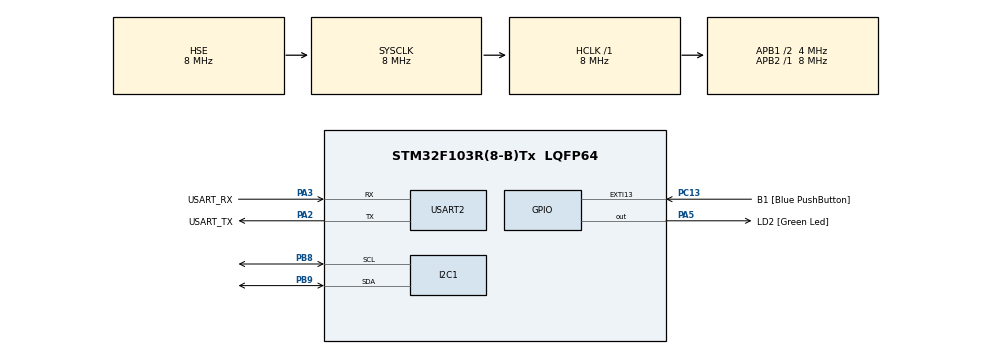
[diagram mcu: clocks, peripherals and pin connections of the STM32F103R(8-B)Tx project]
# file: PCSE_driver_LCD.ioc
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Mcu.Family=STM32F1
Mcu.Name=STM32F103R(8-B)Tx
Mcu.Package=LQFP64
NVIC.EXTI15_10_IRQn=true\:0\:0\:false\:false\:true\:true\:true\:true
NVIC.PriorityGroup=NVIC_PRIORITYGROUP_4
PA13.GPIO_Label=TMS
PA13.Mode=Serial_Wire
PA13.Signal=SYS_JTMS-SWDIO
PA14.GPIO_Label=TCK
PA14.Mode=Serial_Wire
PA14.Signal=SYS_JTCK-SWCLK
PA2.GPIO_Label=USART_TX
PA2.GPIO_Mode=GPIO_MODE_AF_PP
PA2.GPIO_PuPd=GPIO_NOPULL
PA2.GPIO_Speed=GPIO_SPEED_FREQ_LOW
PA2.Mode=Asynchronous
PA2.Signal=USART2_TX
PA3.GPIO_Label=USART_RX
PA3.GPIO_Mode=GPIO_MODE_AF_PP
PA3.GPIO_PuPd=GPIO_NOPULL
PA3.GPIO_Speed=GPIO_SPEED_FREQ_LOW
PA3.Mode=Asynchronous
PA3.Signal=USART2_RX
PA5.GPIO_Label=LD2 [Green Led]
PA5.GPIO_ModeDefaultOutputPP=GPIO_MODE_OUTPUT_PP
PA5.GPIO_PuPd=GPIO_NOPULL
PA5.GPIO_Speed=GPIO_SPEED_FREQ_LOW
PA5.Signal=GPIO_Output
PB3.GPIO_Label=SWO
PB3.Signal=SYS_JTDO-TRACESWO
PB8.Mode=I2C
PB8.Signal=I2C1_SCL
PB9.Mode=I2C
PB9.Signal=I2C1_SDA
PC13-TAMPER-RTC.GPIO_Label=B1 [Blue PushButton]
PC13-TAMPER-RTC.GPIO_PuPd=GPIO_NOPULL
PC13-TAMPER-RTC.Signal=GPXTI13
PC14-OSC32_IN.Mode=LSE-External-Oscillator
PC14-OSC32_IN.Signal=RCC_OSC32_IN
PC15-OSC32_OUT.Mode=LSE-External-Oscillator
PC15-OSC32_OUT.Signal=RCC_OSC32_OUT
PD0-OSC_IN.Mode=HSE-External-Clock-Source
PD0-OSC_IN.Signal=RCC_OSC_IN
PD1-OSC_OUT.Mode=HSE-External-Clock-Source
PD1-OSC_OUT.Signal=RCC_OSC_OUT
ProjectManager.HeapSize=0x200
ProjectManager.StackSize=0x400
ProjectManager.TargetToolchain=STM32CubeIDE
RCC.AHBFreq_Value=8000000
RCC.APB1CLKDivider=RCC_HCLK_DIV2
RCC.APB1Freq_Value=4000000
RCC.APB1TimFreq_Value=8000000
RCC.APB2Freq_Value=8000000
RCC.APB2TimFreq_Value=8000000
RCC.HCLKFreq_Value=8000000
RCC.PLLMUL=RCC_PLL_MUL16
RCC.RTCClockSelection=RCC_RTCCLKSOURCE_LSE
RCC.SYSCLKFreq_VALUE=8000000
RCC.SYSCLKSource=RCC_SYSCLKSOURCE_HSE
RCC.USBFreq_Value=64000000
USART2.VirtualMode=VM_ASYNC
board=NUCLEO-F103RB

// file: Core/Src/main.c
/* USER CODE BEGIN Header */
/**
  ******************************************************************************
  * @file           : main.c
  * @brief          : Main program body
  ******************************************************************************
  * @attention
  *
  * Copyright (c) 2023 STMicroelectronics.
  * All rights reserved.
  *
  * This software is licensed under terms that can be found in the LICENSE file
  * in the root directory of this software component.
  * If no LICENSE file comes with this software, it is provided AS-IS.
  *
  ******************************************************************************
  */
/* USER CODE END Header */
#include "main.h"

/* USER CODE BEGIN Includes */
#include "API_lcd_i2c.h"
/* USER CODE END Includes */

I2C_HandleTypeDef hi2c1;

UART_HandleTypeDef huart2;

void SystemClock_Config(void);
static void MX_GPIO_Init(void);
static void MX_USART2_UART_Init(void);
static void MX_I2C1_Init(void);

int main(void)
{

  /* MCU Configuration--------------------------------------------------------*/

  /* Reset of all peripherals, Initializes the Flash interface and the Systick. */
  HAL_Init();

  /* Configure the system clock */
  SystemClock_Config();

  /* Initialize all configured peripherals */
  MX_GPIO_Init();
  MX_USART2_UART_Init();
  MX_I2C1_Init();
  /* USER CODE BEGIN 2 */
  i2c_linker(&hi2c1);
  lcd_init();

  /* USER CODE END 2 */

  /* Infinite loop */
  /* USER CODE BEGIN WHILE */

  uint8_t text0[] = "* PCSE *";
  uint8_t text1[] = "CESE 2023";
  uint8_t text2[] = "UBA";
  const uint8_t space[] = " ";

  lcd_clear();
  HAL_Delay(1000);
  lcd_print_text(text0, sizeof(text0));
  HAL_Delay(1000);
  lcd_clear();
  HAL_Delay(1000);
  //lcd_set_position(1, 1);
  return_home();
  lcd_print_text(text1, sizeof(text1));
  lcd_set_position(2, 1);
  lcd_print_text(text2, sizeof(text2));

  lcd_print_text(space, sizeof(space));

  uint8_t mychar1[] = { 0x00, 0x0E, 0x11, 0x11, 0x11,0x0E, 0x00,0x00 }; // empty circle
  uint8_t mychar2[] = {0x00, 0x00, 0x0A, 0x00, 0x11, 0x0E, 0x00, 0x00}; // face
  uint8_t mychar3[] = {0x00,0x0E,0x1F,0x1F,0x1F,0x0E,0x00,0x00}; // full circle

  create_character(0, mychar1);
  create_character(1, mychar2);
  create_character(3, mychar3);

  lcd_set_position(2, 5);

  lcd_send_byte(0, RS_DATA, RW_WRITE);
  lcd_send_byte(1, RS_DATA, RW_WRITE);
  lcd_send_byte(3, RS_DATA, RW_WRITE);

  uint8_t charIndex = 0;

  while (1)
  {
	  // blinking forever
	  HAL_GPIO_TogglePin(LD2_GPIO_Port, LD2_Pin);

	  HAL_Delay(500);

	  //lcd_send_byte(0x00, RS_DATA, RW_WRITE);
	  //return_home();
	  //shift_display(DISPLAY_SHIFT,SHIFT_RIGHT);

	  // display available characters
	  lcd_set_position(2, 14);
	  if(charIndex>207) charIndex = 0;
	  lcd_send_byte(charIndex, RS_DATA, RW_WRITE);
	  charIndex++;

	  HAL_Delay(500);

    /* USER CODE END WHILE */

  }
}

void SystemClock_Config(void)
{
  RCC_OscInitTypeDef RCC_OscInitStruct = {0};
  RCC_ClkInitTypeDef RCC_ClkInitStruct = {0};

  /** Initializes the RCC Oscillators according to the specified parameters
  * in the RCC_OscInitTypeDef structure.
  */
  RCC_OscInitStruct.OscillatorType = RCC_OSCILLATORTYPE_HSE;
  RCC_OscInitStruct.HSEState = RCC_HSE_BYPASS;
  RCC_OscInitStruct.PLL.PLLState = RCC_PLL_NONE;
  if (HAL_RCC_OscConfig(&RCC_OscInitStruct) != HAL_OK)
  {
    Error_Handler();
  }

  /** Initializes the CPU, AHB and APB buses clocks
  */
  RCC_ClkInitStruct.ClockType = RCC_CLOCKTYPE_HCLK|RCC_CLOCKTYPE_SYSCLK
                              |RCC_CLOCKTYPE_PCLK1|RCC_CLOCKTYPE_PCLK2;
  RCC_ClkInitStruct.SYSCLKSource = RCC_SYSCLKSOURCE_HSE;
  RCC_ClkInitStruct.AHBCLKDivider = RCC_SYSCLK_DIV1;
  RCC_ClkInitStruct.APB1CLKDivider = RCC_HCLK_DIV2;
  RCC_ClkInitStruct.APB2CLKDivider = RCC_HCLK_DIV1;

  if (HAL_RCC_ClockConfig(&RCC_ClkInitStruct, FLASH_LATENCY_0) != HAL_OK)
  {
    Error_Handler();
  }
}

static void MX_I2C1_Init(void)
{

  hi2c1.Instance = I2C1;
  hi2c1.Init.ClockSpeed = 100000;
  hi2c1.Init.DutyCycle = I2C_DUTYCYCLE_2;
  hi2c1.Init.OwnAddress1 = 0;
  hi2c1.Init.AddressingMode = I2C_ADDRESSINGMODE_7BIT;
  hi2c1.Init.DualAddressMode = I2C_DUALADDRESS_DISABLE;
  hi2c1.Init.OwnAddress2 = 0;
  hi2c1.Init.GeneralCallMode = I2C_GENERALCALL_DISABLE;
  hi2c1.Init.NoStretchMode = I2C_NOSTRETCH_DISABLE;
  if (HAL_I2C_Init(&hi2c1) != HAL_OK)
  {
    Error_Handler();
  }

}

static void MX_USART2_UART_Init(void)
{

  huart2.Instance = USART2;
  huart2.Init.BaudRate = 115200;
  huart2.Init.WordLength = UART_WORDLENGTH_8B;
  huart2.Init.StopBits = UART_STOPBITS_1;
  huart2.Init.Parity = UART_PARITY_NONE;
  huart2.Init.Mode = UART_MODE_TX_RX;
  huart2.Init.HwFlowCtl = UART_HWCONTROL_NONE;
  huart2.Init.OverSampling = UART_OVERSAMPLING_16;
  if (HAL_UART_Init(&huart2) != HAL_OK)
  {
    Error_Handler();
  }

}

static void MX_GPIO_Init(void)
{
  GPIO_InitTypeDef GPIO_InitStruct = {0};

  /* GPIO Ports Clock Enable */
  __HAL_RCC_GPIOC_CLK_ENABLE();
  __HAL_RCC_GPIOD_CLK_ENABLE();
  __HAL_RCC_GPIOA_CLK_ENABLE();
  __HAL_RCC_GPIOB_CLK_ENABLE();

  /*Configure GPIO pin Output Level */
  HAL_GPIO_WritePin(LD2_GPIO_Port, LD2_Pin, GPIO_PIN_RESET);

  /*Configure GPIO pin : B1_Pin */
  GPIO_InitStruct.Pin = B1_Pin;
  GPIO_InitStruct.Mode = GPIO_MODE_IT_RISING;
  GPIO_InitStruct.Pull = GPIO_NOPULL;
  HAL_GPIO_Init(B1_GPIO_Port, &GPIO_InitStruct);

  /*Configure GPIO pin : LD2_Pin */
  GPIO_InitStruct.Pin = LD2_Pin;
  GPIO_InitStruct.Mode = GPIO_MODE_OUTPUT_PP;
  GPIO_InitStruct.Pull = GPIO_NOPULL;
  GPIO_InitStruct.Speed = GPIO_SPEED_FREQ_LOW;
  HAL_GPIO_Init(LD2_GPIO_Port, &GPIO_InitStruct);

  /* EXTI interrupt init*/
  HAL_NVIC_SetPriority(EXTI15_10_IRQn, 0, 0);
  HAL_NVIC_EnableIRQ(EXTI15_10_IRQn);

}

/* USER CODE BEGIN 4 */

/*************************************** LCD INSTRUCTIONS *********************************************
 *
 * RS  RW  DB7 DB6 DB5 DB4 DB3 DB2 DB1 DB0
 * 0	0	0	0	0	0	0	0	0	1		>> CLEAR SCREEN
 * 0	0	0	0	0	0	0	0	1	x		>> RETURN HOME (GO TO POSITION 0;0)
 * 0	0	0	0	0	0	0	1	ID	S		>> ENTRY MODE ID= 1-increment 0-decrement / S=1-shift display
 * 0	0	0	0	0	0	1	D	C	B		>> DISPLAY CONTROL D=1-display ON, C=1-Cursor ON, B=1-blink ON
 * 0	0	0	0	0	1	SC	RL	x	x		>> CURSOR DISPLAY SHIFT SC=1-display shift 0-cursor move, RL=1-right 0-left
 * 0	0	0	0	1	DL	N	F	x	x		>> Function Set DL=1-8bit mode 0-4bit mode, N=1-2 lines 0-1line, F=15x10 0-5x8
 * 0	0	0	1	ACG	ACG	ACG	ACG	ACG	ACG		>> CGRAM address, data is sent after this command
 * 0	0	1	ADD	ADD	ADD	ADD	ADD	ADD	ADD		>> DDRAM address (lcd position), data is sent after this command
 *
 */
/**************************** WRITE TO LCD FUNCTIONS ***************************/

/* Serial->Parallel: output Byte Px: D7 D6 D5 D4 BT E RW RS */

/*
void lcd_send_byte(uint8_t byte, bool rs, bool rw){
	// byte contains 8 bits of information  / byteType can be INSTRUCTION or DATA
	uint8_t upperByte = (byte & HIGH_NIBBLE); // mask with 1111 0000
	uint8_t lowerByte = (byte << 4); // shift 4 to the left so lower nibble becomes high

	// add rs and rw bits
	upperByte |= ((rs<<RS_POS) | (rw<<RW_POS) | (BT_ON<<BT_POS));
	lowerByte |= ((rs<<RS_POS) | (rw<<RW_POS) | (BT_ON<<BT_POS));
	// E bit 1 0 1 0 to create pulses in LCD controller

	uint8_t byteSequence[4] = {
			(upperByte | (E_HIGH<<E_POS)),
			(upperByte | (E_LOW<<E_POS)),
			(lowerByte | (E_HIGH<<E_POS)),
			(lowerByte | (E_LOW<<E_POS))
	};

	send_bytes_i2c(LCD_ADDRESS, byteSequence, 4, I2C_WRITE);

}

void send_bytes_i2c(uint8_t slaveAddress, uint8_t byteSequence[], uint8_t sequenceSize, bool i2c_rw){
	slaveAddress = ((slaveAddress<<1) | i2c_rw); // i2c WRITE or READ
	HAL_I2C_Master_Transmit(&hi2c1, slaveAddress, byteSequence, sequenceSize, 100);
}

void lcd_clear(){
	lcd_send_byte(0x01, RS_INSTRUCTION, RW_WRITE);
}

void return_home(){
	lcd_send_byte(0x02, RS_INSTRUCTION, RW_WRITE);
}

void lcd_set_position(uint8_t row, uint8_t column){
	// for LCD 16x2 check ranges
	if(row>2) row = 2;
	if(row<1) row = 1;
	if(column>16) column = 16;
	if(column<1) column = 1;

	uint8_t ddram = ddram_address_16x2[row-1][column-1];
	uint8_t ddram_cmd = ddram | (1<<7); // add a 1 in DB7 for DDRAM command

	lcd_send_byte(ddram_cmd, RS_INSTRUCTION, RW_WRITE); // send address as instruction, not data
}

void lcd_print_text(uint8_t text[], uint8_t size){

	for(uint8_t i = 0; i < size; i++){
		HAL_Delay(1); // without this some chars go missing
		lcd_send_byte(text[i], RS_DATA, RW_WRITE);
	}
}

void control_backlight(bool state){
	uint8_t cmd = (state<<BT_POS); // send straight to I2C / not part of the LCD controller
	uint8_t slaveAddress = ((LCD_ADDRESS<<1) | I2C_WRITE); // i2c WRITE or READ
	HAL_I2C_Master_Transmit(&hi2c1, slaveAddress, cmd, 1, 100);
}

void lcd_init(){
	// initialization sequence p46 HD44780 datasheet
	HAL_Delay(50); // wait >40 ms
	lcd_send_byte(0x30, RS_INSTRUCTION, RW_WRITE); // 0 0 1 1 x x x x -> 0x30
	HAL_Delay(10); // wait > 4 ms
	lcd_send_byte(0x30, RS_INSTRUCTION, RW_WRITE);
	HAL_Delay(10); // wait > 0.1 ms
	lcd_send_byte(0x30, RS_INSTRUCTION, RW_WRITE);
	HAL_Delay(10);
	lcd_send_byte(0x20, RS_INSTRUCTION, RW_WRITE); // 0 0 1 DL=0 x x x x -> 0x20 / Function set: DL=4-bit mode
	// start in 4 bit mode
	lcd_send_byte(0x28, RS_INSTRUCTION, RW_WRITE); // 0 0 1 0 N=1 F=0 x x -> 0x28 / Function set: N=2-lines, F=5x8
	HAL_Delay(2);
	lcd_send_byte(0x08, RS_INSTRUCTION, RW_WRITE); // 0 0 0 0 1 D=0 C=0 B=0 -> 0x08 / Display control: D=display off, C=cursor off, B=blink off
	HAL_Delay(2);
	lcd_send_byte(0x01, RS_INSTRUCTION, RW_WRITE); // 0 0 0 0 0 0 0 1 -> 0x01 / Display clear
	HAL_Delay(2);
	lcd_send_byte(0x06, RS_INSTRUCTION, RW_WRITE); // 0 0 0 0 0 1 ID=1 S=0 -> 0x06/ Entry mode: ID=increment, S=no display shift
	HAL_Delay(2);
	lcd_send_byte(0x0C, RS_INSTRUCTION, RW_WRITE); // 0 0 0 0 1 D=1 C=0 B=0 -> 0x0C / Display control:D-display on, C=cursor off, B=blink off

}
*/

/* USER CODE END 4 */

void Error_Handler(void)
{
  __disable_irq();
  while (1)
  {
  }
}
